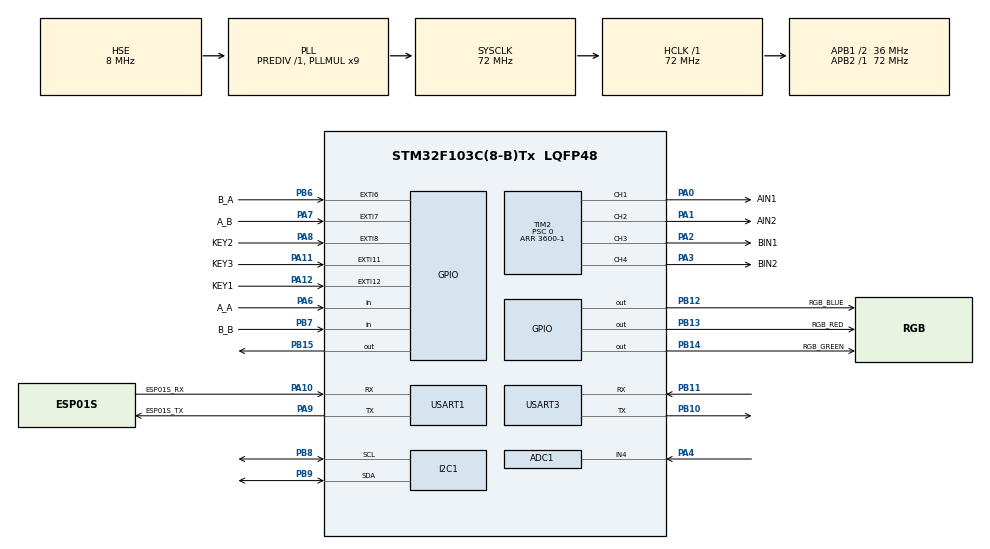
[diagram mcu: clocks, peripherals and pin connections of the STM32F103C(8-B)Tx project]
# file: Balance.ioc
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ADC1.Channel-0\#ChannelRegularConversion=ADC_CHANNEL_4
ADC1.NbrOfConversion=1
ADC1.NbrOfConversionFlag=1
ADC1.Rank-0\#ChannelRegularConversion=1
ADC1.SamplingTime-0\#ChannelRegularConversion=ADC_SAMPLETIME_1CYCLE_5
ADC1.master=1
Dma.Request0=USART1_RX
Dma.Request1=USART1_TX
Dma.USART1_RX.0.Direction=DMA_PERIPH_TO_MEMORY
Dma.USART1_RX.0.Instance=DMA1_Channel5
Dma.USART1_RX.0.MemDataAlignment=DMA_MDATAALIGN_BYTE
Dma.USART1_RX.0.MemInc=DMA_MINC_ENABLE
Dma.USART1_RX.0.Mode=DMA_NORMAL
Dma.USART1_RX.0.PeriphDataAlignment=DMA_PDATAALIGN_BYTE
Dma.USART1_RX.0.PeriphInc=DMA_PINC_DISABLE
Dma.USART1_RX.0.Priority=DMA_PRIORITY_LOW
Dma.USART1_TX.1.Direction=DMA_MEMORY_TO_PERIPH
Dma.USART1_TX.1.Instance=DMA1_Channel4
Dma.USART1_TX.1.MemDataAlignment=DMA_MDATAALIGN_BYTE
Dma.USART1_TX.1.MemInc=DMA_MINC_ENABLE
Dma.USART1_TX.1.Mode=DMA_NORMAL
Dma.USART1_TX.1.PeriphDataAlignment=DMA_PDATAALIGN_BYTE
Dma.USART1_TX.1.PeriphInc=DMA_PINC_DISABLE
Dma.USART1_TX.1.Priority=DMA_PRIORITY_LOW
Mcu.Family=STM32F1
Mcu.Name=STM32F103C(8-B)Tx
Mcu.Package=LQFP48
NVIC.DMA1_Channel4_IRQn=true\:0\:0\:false\:false\:true\:false\:true\:true
NVIC.DMA1_Channel5_IRQn=true\:0\:0\:false\:false\:true\:false\:true\:true
NVIC.EXTI15_10_IRQn=true\:0\:0\:false\:false\:true\:true\:true\:true
NVIC.EXTI9_5_IRQn=true\:0\:0\:false\:false\:true\:true\:true\:true
NVIC.PriorityGroup=NVIC_PRIORITYGROUP_4
NVIC.TIM1_UP_IRQn=true\:0\:0\:false\:false\:true\:true\:true\:true
NVIC.USART1_IRQn=true\:0\:0\:false\:false\:true\:true\:true\:true
PA0-WKUP.GPIO_Label=AIN1
PA0-WKUP.Signal=S_TIM2_CH1_ETR
PA1.GPIO_Label=AIN2
PA1.Signal=S_TIM2_CH2
PA10.GPIO_Label=ESP01S_RX
PA10.Mode=Asynchronous
PA10.Signal=USART1_RX
PA11.GPIO_Label=KEY3
PA11.GPIO_ModeDefaultEXTI=GPIO_MODE_IT_FALLING
PA11.GPIO_PuPd=GPIO_PULLUP
PA11.Signal=GPXTI11
PA12.GPIO_Label=KEY1
PA12.GPIO_ModeDefaultEXTI=GPIO_MODE_IT_FALLING
PA12.GPIO_PuPd=GPIO_PULLUP
PA12.Signal=GPXTI12
PA13.Mode=Serial_Wire
PA13.Signal=SYS_JTMS-SWDIO
PA14.Mode=Serial_Wire
PA14.Signal=SYS_JTCK-SWCLK
PA2.GPIO_Label=BIN1
PA2.Signal=S_TIM2_CH3
PA3.GPIO_Label=BIN2
PA3.Signal=S_TIM2_CH4
PA4.Signal=ADCx_IN4
PA6.GPIO_Label=A_A
PA6.Signal=GPIO_Input
PA7.GPIO_Label=A_B
PA7.GPIO_ModeDefaultEXTI=GPIO_MODE_IT_FALLING
PA7.Signal=GPXTI7
PA8.GPIO_Label=KEY2
PA8.GPIO_ModeDefaultEXTI=GPIO_MODE_IT_FALLING
PA8.GPIO_PuPd=GPIO_PULLUP
PA8.Signal=GPXTI8
PA9.GPIO_Label=ESP01S_TX
PA9.Mode=Asynchronous
PA9.Signal=USART1_TX
PB10.Mode=Asynchronous
PB10.Signal=USART3_TX
PB11.Mode=Asynchronous
PB11.Signal=USART3_RX
PB12.GPIO_Label=RGB_BLUE
PB12.Signal=GPIO_Output
PB13.GPIO_Label=RGB_RED
PB13.Signal=GPIO_Output
PB14.GPIO_Label=RGB_GREEN
PB14.Signal=GPIO_Output
PB15.Signal=GPIO_Output
PB6.GPIO_Label=B_A
PB6.GPIO_ModeDefaultEXTI=GPIO_MODE_IT_FALLING
PB6.Signal=GPXTI6
PB7.GPIO_Label=B_B
PB7.Signal=GPIO_Input
PB8.Mode=I2C
PB8.Signal=I2C1_SCL
PB9.Mode=I2C
PB9.Signal=I2C1_SDA
PD0-OSC_IN.Mode=HSE-External-Oscillator
PD0-OSC_IN.Signal=RCC_OSC_IN
PD1-OSC_OUT.Mode=HSE-External-Oscillator
PD1-OSC_OUT.Signal=RCC_OSC_OUT
ProjectManager.HeapSize=0x200
ProjectManager.StackSize=0x400
ProjectManager.TargetToolchain=CMake
RCC.ADCPresc=RCC_ADCPCLK2_DIV6
RCC.AHBFreq_Value=72000000
RCC.APB1CLKDivider=RCC_HCLK_DIV2
RCC.APB1Freq_Value=36000000
RCC.APB1TimFreq_Value=72000000
RCC.APB2Freq_Value=72000000
RCC.APB2TimFreq_Value=72000000
RCC.HCLKFreq_Value=72000000
RCC.PLLMUL=RCC_PLL_MUL9
RCC.PLLSourceVirtual=RCC_PLLSOURCE_HSE
RCC.SYSCLKFreq_VALUE=72000000
RCC.SYSCLKSource=RCC_SYSCLKSOURCE_PLLCLK
RCC.USBFreq_Value=72000000
SH.ADCx_IN4.0=ADC1_IN4,IN4
SH.S_TIM2_CH1_ETR.0=TIM2_CH1,PWM Generation1 CH1
SH.S_TIM2_CH2.0=TIM2_CH2,PWM Generation2 CH2
SH.S_TIM2_CH3.0=TIM2_CH3,PWM Generation3 CH3
SH.S_TIM2_CH4.0=TIM2_CH4,PWM Generation4 CH4
TIM1.Prescaler=72-1
TIM2.Channel-PWM\ Generation1\ CH1=TIM_CHANNEL_1
TIM2.Channel-PWM\ Generation2\ CH2=TIM_CHANNEL_2
TIM2.Channel-PWM\ Generation3\ CH3=TIM_CHANNEL_3
TIM2.Channel-PWM\ Generation4\ CH4=TIM_CHANNEL_4
TIM2.Period=3600-1
TIM2.Prescaler=0
TIM2.Pulse-PWM\ Generation3\ CH3=0
TIM2.Pulse-PWM\ Generation4\ CH4=0
USART1.VirtualMode=VM_ASYNC
USART3.VirtualMode=VM_ASYNC
VP_TIM1_VS_ClockSourceINT.Mode=Internal
board=custom

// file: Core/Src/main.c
/* USER CODE BEGIN Header */
/**
  ******************************************************************************
  * @file           : main.c
  * @brief          : Main program body
  ******************************************************************************
  * @attention
  *
  * Copyright (c) 2026 STMicroelectronics.
  * All rights reserved.
  *
  * This software is licensed under terms that can be found in the LICENSE file
  * in the root directory of this software component.
  * If no LICENSE file comes with this software, it is provided AS-IS.
  *
  ******************************************************************************
  */
/* USER CODE END Header */
#include "main.h"
#include "adc.h"
#include "dma.h"
#include "i2c.h"
#include "tim.h"
#include "usart.h"
#include "gpio.h"

/* USER CODE BEGIN Includes */
#include "APP_Motor_Control.h"
#include "APP_MPU6050.h"
#include "oled.h"
#include <string.h>
#include <stdio.h>
#include <KEY.h>
#include "APP_Encoder.h"
#include "printf.h"
#include "Vofa.h"
#include "APP_Bat.h"
#include "task.h"
#include "APP_Control.h"
#include "APP_RemotePID.h"
/* USER CODE END Includes */

/* USER CODE BEGIN PV */
void FloatToStr(char *out, float v)
{
  if (v < 0) { *out++ = '-'; v = -v; }   // 处理负号
  int whole = (int)v;                     // 整数部分
  int frac = (int)((v - whole) * 100.0f + 0.5f); // 四舍五入保留2位小数
  if (frac >= 100) { whole++; frac -= 100; }     // 进位
  sprintf(out, "%d.%02d", whole, frac);   // %d 不依赖浮点printf
}

static float tagetOmega = 0.0f;

static void SendData_Proc(void)
{
  PERIODIC(20); // 50 Hz, DMA transmit keeps the control loop unblocked

  APP_ControlTelemetry control;
  APP_Control_GetTelemetry(&control);
  // ★ 电机未使能时也照常发送：MPU 的姿态/角速度/零偏永远是最新的，
  //   标定和查漂移的时候不需要按 key1 上电（原来 telemetry 只在使能分支里更新，
  //   没使能时发出去的是全 0，看起来像"没有 MPU 数据"）。
  float gz_rad = 0.0f, omega_diff = 0.0f;
  APP_Control_GetTurnDebug(&gz_rad, &omega_diff);

  float data[14] = {
    control.pitch_deg,          // 0 融合 pitch（°）
    control.gyro_dps,           // 1 去零偏陀螺（°/s）
    control.theta_dot_ref,      // 2 内环设定值
    control.theta_dot_dot_ref,  // 3 内环输出
    control.omega_ref,          // 4 轮速设定值 rad/s
    EncoderGetSpeed_L(),        // 5 左轮 rad/s
    EncoderGetSpeed_R(),        // 6 右轮 rad/s
    control.pitch_acc_deg,      // 7 加速度计单独解算的 pitch（°）
    control.gyro_bias_dps,      // 8 当前陀螺零偏（°/s）
    (float)control.motor_en,    // 9 电机使能状态
    (float)g_remote_turn,       // 10 收到的转向指令
    (float)g_remote_move,       // 11 收到的移动指令
    gz_rad,                     // 12 实测偏航角速度 rad/s（调试）
    omega_diff                  // 13 转向环输出轮速差 rad/s（调试）
  };
  (void)Vofa_SendAsync("bal", data, 14, 2);
}

/* USER CODE END PV */

void SystemClock_Config(void);

int main(void)
{

  /* MCU Configuration--------------------------------------------------------*/

  /* Reset of all peripherals, Initializes the Flash interface and the Systick. */
  HAL_Init();

  /* Configure the system clock */
  SystemClock_Config();

  /* Initialize all configured peripherals */
  MX_GPIO_Init();
  MX_DMA_Init();
  MX_I2C1_Init();
  MX_TIM2_Init();
  MX_USART1_UART_Init();
  MX_USART3_UART_Init();
  MX_ADC1_Init();
  MX_TIM1_Init();
  /* USER CODE BEGIN 2 */
  Timer1_StartUs();
  APP_Motor_Init();
  APP_MPU6050_Init();
  HAL_Delay(1000); //等待MPU6050稳定
  OLED_Init();
  char display_str[20];
  KEY_AllInit();
  APP_Encoder_Init();
  APP_ADC_Init();
  APP_PWM_Init();
  APP_Control_Init();
  APP_RemotePID_Init();

  /* USER CODE END 2 */

  /* Infinite loop */
  /* USER CODE BEGIN WHILE */
  while (1)
  {
    KEY_Proc(&key1, &key2, &key3);
    APP_Bat_Get_Proc();
    APP_MPU6050_Proc();
    APP_Motor_Proc();
    APP_Control_Proc();
    APP_RemotePID_Proc();

    // OLED_NewFrame();

    // //显示角速度
    // FloatToStr(display_str, EncoderGetSpeed_L());
    // OLED_PrintString(0, 0, display_str, &font16x16, 0);
    // FloatToStr(display_str, EncoderGetSpeed_R());
    // OLED_PrintString(0, 16, display_str, &font16x16, 0);

    // OLED_ShowFrame();

    SendData_Proc();

    /* USER CODE END WHILE */

  }
}

void SystemClock_Config(void)
{
  RCC_OscInitTypeDef RCC_OscInitStruct = {0};
  RCC_ClkInitTypeDef RCC_ClkInitStruct = {0};
  RCC_PeriphCLKInitTypeDef PeriphClkInit = {0};

  /** Initializes the RCC Oscillators according to the specified parameters
  * in the RCC_OscInitTypeDef structure.
  */
  RCC_OscInitStruct.OscillatorType = RCC_OSCILLATORTYPE_HSE;
  RCC_OscInitStruct.HSEState = RCC_HSE_ON;
  RCC_OscInitStruct.HSEPredivValue = RCC_HSE_PREDIV_DIV1;
  RCC_OscInitStruct.HSIState = RCC_HSI_ON;
  RCC_OscInitStruct.PLL.PLLState = RCC_PLL_ON;
  RCC_OscInitStruct.PLL.PLLSource = RCC_PLLSOURCE_HSE;
  RCC_OscInitStruct.PLL.PLLMUL = RCC_PLL_MUL9;
  if (HAL_RCC_OscConfig(&RCC_OscInitStruct) != HAL_OK)
  {
    Error_Handler();
  }

  /** Initializes the CPU, AHB and APB buses clocks
  */
  RCC_ClkInitStruct.ClockType = RCC_CLOCKTYPE_HCLK|RCC_CLOCKTYPE_SYSCLK
                              |RCC_CLOCKTYPE_PCLK1|RCC_CLOCKTYPE_PCLK2;
  RCC_ClkInitStruct.SYSCLKSource = RCC_SYSCLKSOURCE_PLLCLK;
  RCC_ClkInitStruct.AHBCLKDivider = RCC_SYSCLK_DIV1;
  RCC_ClkInitStruct.APB1CLKDivider = RCC_HCLK_DIV2;
  RCC_ClkInitStruct.APB2CLKDivider = RCC_HCLK_DIV1;

  if (HAL_RCC_ClockConfig(&RCC_ClkInitStruct, FLASH_LATENCY_2) != HAL_OK)
  {
    Error_Handler();
  }
  PeriphClkInit.PeriphClockSelection = RCC_PERIPHCLK_ADC;
  PeriphClkInit.AdcClockSelection = RCC_ADCPCLK2_DIV6;
  if (HAL_RCCEx_PeriphCLKConfig(&PeriphClkInit) != HAL_OK)
  {
    Error_Handler();
  }
}

/* USER CODE BEGIN 4 */
void HAL_GPIO_EXTI_Callback(uint16_t GPIO_Pin)
{
    if (GPIO_Pin == KEY1_Pin)
    {
        KEY_EXTI_Callback(&key1);
    }
    else if (GPIO_Pin == KEY2_Pin)
    {
        KEY_EXTI_Callback(&key2);
    }
    else if (GPIO_Pin == KEY3_Pin)
    {
        KEY_EXTI_Callback(&key3);
    }
    else if (GPIO_Pin ==  A_B_Pin)
    {
        Encoder_EXTI_IRQHandler(&Motor_R);
    }
    else if (GPIO_Pin == B_A_Pin)
    {
        Encoder_EXTI_IRQHandler(&Motor_L);
    }
}
/* USER CODE END 4 */

void Error_Handler(void)
{
  __disable_irq();
  while (1)
  {
  }
}
